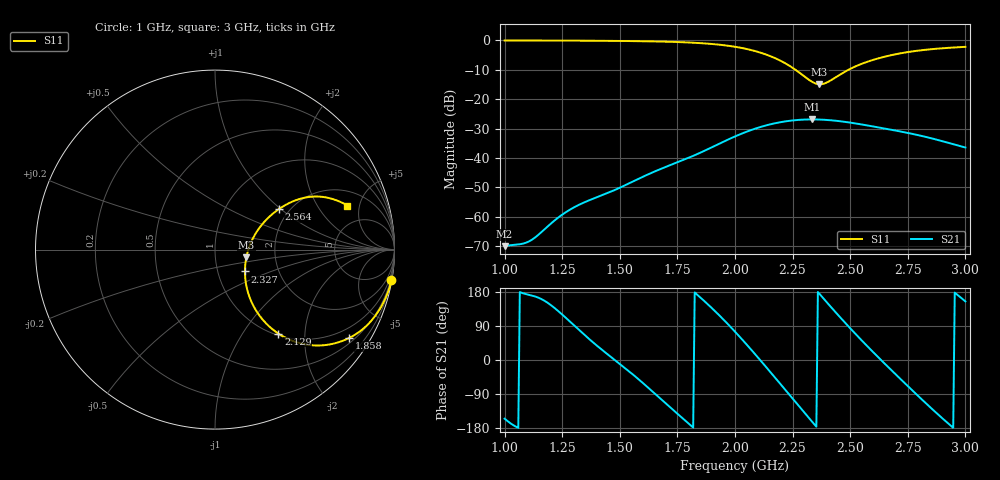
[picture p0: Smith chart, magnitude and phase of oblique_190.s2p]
! TOUCHSTONE file generated by CST MICROWAVE STUDIO
! Date and time: Tue Mar 18 00:02:56 2025
! Project name: oblique.cst
! Parameters = {Tilt=40; Fracture=1; B=12.5; D=160; F=15; Feed=2.85625; L=100; M=10; R=0.384908; S=2; Theta=90; length=57.125; wave=114.25}
! Header version: 2024
! Port assignment regex: !\s*Touchstone port\s*([0-9]+)\s*=\s*(CST MWS port|CST DES external port|CST DES block port)\s*(.+)\s* \(\"(.*)\"\)(\s*mode\s*([0-9]+))?.*
! Touchstone port assignment:
! Touchstone port 1 = CST MWS port 1 ("")
! Touchstone port 2 = CST MWS port 2 ("")
# GHz S DB R 50
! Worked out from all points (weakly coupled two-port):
!   304 points, 1 GHz to 3 GHz, reference 50 ohm
!   highest |S21| = -26.86 dB at 2.333 GHz (marker M1); lowest = -70.0 dB at 1 GHz (marker M2)
!   lowest |S11| = -14.9 dB at 2.366 GHz (marker M3), VSWR 1.44, Z = 70.8 - j6.18 ohm
!   |S11| at or under -10 dB: 2.263 GHz to 2.492 GHz (229.6 MHz wide, 9.66 % of centre)
!   S12 and S22 are empty: the file has one direction only
!   S11 on the Smith chart (normalised r, x): 1 GHz: 0, -12; 1.858 GHz: 0.65, -3.21; 2.129 GHz: 1.03, -1.47; 2.327 GHz: 1.35, -0.34; 2.564 GHz: 1.76, +0.96; 3 GHz: 3.07, +3.80
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1  -0.02 -9.8  -69.95 -154.9  -200.00 0.0  -200.00 0.0
1.07921  -0.03 -10.9  -69.10 176.2  -200.00 0.0  -200.00 0.0
1.11221  -0.03 -11.4  -68.06 171.0  -200.00 0.0  -200.00 0.0
1.24422  -0.06 -13.5  -59.56 123.1  -200.00 0.0  -200.00 0.0
1.33663  -0.09 -15.2  -55.38 71.7  -200.00 0.0  -200.00 0.0
1.48185  -0.17 -18.5  -50.73 -1.5  -200.00 0.0  -200.00 0.0
1.66667  -0.37 -24.2  -44.05 -96.7  -200.00 0.0  -200.00 0.0
1.85809  -0.97 -33.4  -37.87 160.3  -200.00 0.0  -200.00 0.0
2.0033  -2.21 -43.5  -32.54 72.6  -200.00 0.0  -200.00 0.0
2.06931  -3.26 -48.7  -30.49 27.9  -200.00 0.0  -200.00 0.0
2.12871  -4.63 -52.9  -29.02 -14.0  -200.00 0.0  -200.00 0.0
2.22112  -7.92 -56.0  -27.50 -80.8  -200.00 0.0  -200.00 0.0
2.32673  -13.70 -36.1  -26.86 -157.1  -200.00 0.0  -200.00 0.0
2.33333  -14.02 -33.0  -26.86 -161.9  -200.00 0.0  -200.00 0.0
2.33993  -14.31 -29.5  -26.86 -166.6  -200.00 0.0  -200.00 0.0
2.36634  -14.91 -13.6  -26.91 174.7  -200.00 0.0  -200.00 0.0
2.39934  -14.28 5.7  -27.05 151.6  -200.00 0.0  -200.00 0.0
2.46535  -11.17 26.2  -27.57 106.6  -200.00 0.0  -200.00 0.0
2.56436  -7.54 32.4  -28.77 42.6  -200.00 0.0  -200.00 0.0
2.66997  -5.16 30.8  -30.26 -21.6  -200.00 0.0  -200.00 0.0
2.82838  -3.17 24.5  -32.81 -114.1  -200.00 0.0  -200.00 0.0
3  -2.19 18.4  -36.42 154.7  -200.00 0.0  -200.00 0.0
